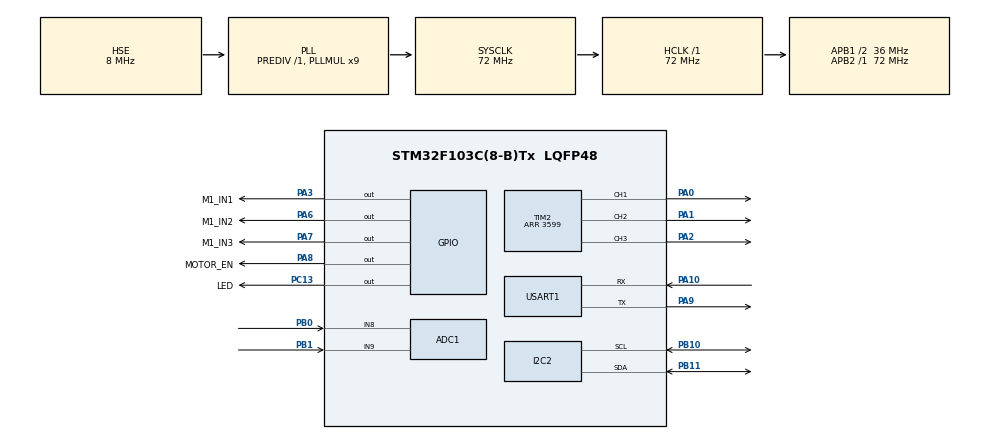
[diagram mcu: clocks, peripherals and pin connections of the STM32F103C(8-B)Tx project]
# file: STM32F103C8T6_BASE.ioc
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ADC1.Channel-0\#ChannelRegularConversion=ADC_CHANNEL_8
ADC1.Channel-1\#ChannelRegularConversion=ADC_CHANNEL_9
ADC1.ExternalTrigConv=ADC_EXTERNALTRIGCONV_T3_TRGO
ADC1.NbrOfConversion=2
ADC1.NbrOfConversionFlag=1
ADC1.Rank-0\#ChannelRegularConversion=1
ADC1.Rank-1\#ChannelRegularConversion=2
ADC1.SamplingTime-0\#ChannelRegularConversion=ADC_SAMPLETIME_55CYCLES_5
ADC1.SamplingTime-1\#ChannelRegularConversion=ADC_SAMPLETIME_55CYCLES_5
ADC1.master=1
Dma.ADC1.0.Direction=DMA_PERIPH_TO_MEMORY
Dma.ADC1.0.Instance=DMA1_Channel1
Dma.ADC1.0.MemDataAlignment=DMA_MDATAALIGN_HALFWORD
Dma.ADC1.0.MemInc=DMA_MINC_ENABLE
Dma.ADC1.0.Mode=DMA_CIRCULAR
Dma.ADC1.0.PeriphDataAlignment=DMA_PDATAALIGN_HALFWORD
Dma.ADC1.0.PeriphInc=DMA_PINC_DISABLE
Dma.ADC1.0.Priority=DMA_PRIORITY_HIGH
Dma.Request0=ADC1
Mcu.Family=STM32F1
Mcu.Name=STM32F103C(8-B)Tx
Mcu.Package=LQFP48
NVIC.DMA1_Channel1_IRQn=true\:0\:0\:false\:false\:true\:false\:true\:true
NVIC.PriorityGroup=NVIC_PRIORITYGROUP_4
PA0-WKUP.Signal=S_TIM2_CH1_ETR
PA1.Signal=S_TIM2_CH2
PA10.Mode=Asynchronous
PA10.Signal=USART1_RX
PA13.Mode=Serial_Wire
PA13.Signal=SYS_JTMS-SWDIO
PA14.Mode=Serial_Wire
PA14.Signal=SYS_JTCK-SWCLK
PA2.Signal=S_TIM2_CH3
PA3.GPIO_Label=M1_IN1
PA3.Signal=GPIO_Output
PA6.GPIO_Label=M1_IN2
PA6.Signal=GPIO_Output
PA7.GPIO_Label=M1_IN3
PA7.Signal=GPIO_Output
PA8.GPIO_Label=MOTOR_EN
PA8.GPIO_PuPd=GPIO_NOPULL
PA8.Signal=GPIO_Output
PA9.Mode=Asynchronous
PA9.Signal=USART1_TX
PB0.Signal=ADCx_IN8
PB1.Signal=ADCx_IN9
PB10.Mode=I2C
PB10.Signal=I2C2_SCL
PB11.Mode=I2C
PB11.Signal=I2C2_SDA
PC13-TAMPER-RTC.GPIO_Label=LED
PC13-TAMPER-RTC.Signal=GPIO_Output
PC14-OSC32_IN.Mode=LSE-External-Oscillator
PC14-OSC32_IN.Signal=RCC_OSC32_IN
PC15-OSC32_OUT.Mode=LSE-External-Oscillator
PC15-OSC32_OUT.Signal=RCC_OSC32_OUT
PD0-OSC_IN.Mode=HSE-External-Oscillator
PD0-OSC_IN.Signal=RCC_OSC_IN
PD1-OSC_OUT.Mode=HSE-External-Oscillator
PD1-OSC_OUT.Signal=RCC_OSC_OUT
ProjectManager.HeapSize=0x200
ProjectManager.StackSize=0x800
ProjectManager.TargetToolchain=MDK-ARM V5.32
RCC.ADCPresc=RCC_ADCPCLK2_DIV6
RCC.AHBFreq_Value=72000000
RCC.APB1CLKDivider=RCC_HCLK_DIV2
RCC.APB1Freq_Value=36000000
RCC.APB1TimFreq_Value=72000000
RCC.APB2Freq_Value=72000000
RCC.APB2TimFreq_Value=72000000
RCC.HCLKFreq_Value=72000000
RCC.PLLMUL=RCC_PLL_MUL9
RCC.PLLSourceVirtual=RCC_PLLSOURCE_HSE
RCC.SYSCLKFreq_VALUE=72000000
RCC.SYSCLKSource=RCC_SYSCLKSOURCE_PLLCLK
RCC.USBFreq_Value=72000000
SH.ADCx_IN8.0=ADC1_IN8,IN8
SH.ADCx_IN9.0=ADC1_IN9,IN9
SH.S_TIM2_CH1_ETR.0=TIM2_CH1,PWM Generation1 CH1
SH.S_TIM2_CH2.0=TIM2_CH2,PWM Generation2 CH2
SH.S_TIM2_CH3.0=TIM2_CH3,PWM Generation3 CH3
TIM2.Channel-PWM\ Generation1\ CH1=TIM_CHANNEL_1
TIM2.Channel-PWM\ Generation2\ CH2=TIM_CHANNEL_2
TIM2.Channel-PWM\ Generation3\ CH3=TIM_CHANNEL_3
TIM2.Period=3599
TIM3.Period=3599
TIM3.TIM_MasterOutputTrigger=TIM_TRGO_UPDATE
TIM3.TIM_MasterSlaveMode=TIM_MASTERSLAVEMODE_DISABLE
USART1.VirtualMode=VM_ASYNC
VP_TIM2_VS_ClockSourceINT.Mode=Internal
VP_TIM3_VS_ClockSourceINT.Mode=Internal
board=custom

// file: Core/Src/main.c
/* USER CODE BEGIN Header */
/**
  ******************************************************************************
  * @file           : main.c
  * @brief          : Main program body
  ******************************************************************************
  * @attention
  *
  * Copyright (c) 2026 STMicroelectronics.
  * All rights reserved.
  *
  * This software is licensed under terms that can be found in the LICENSE file
  * in the root directory of this software component.
  * If no LICENSE file comes with this software, it is provided AS-IS.
  *
  ******************************************************************************
  */
/* USER CODE END Header */
#include "main.h"

/* USER CODE BEGIN Includes */
/* 双 Target 分流：F103-run 固件走 app_run（读固化包直入运行态），
 * 测试 target（默认，不定义 APP_MODE_RUN）走 app_baseline 标定流，行为不变。 */
#if APP_MODE_RUN
#include "app_run.h"
#else
#include "app_baseline.h"
#endif

/* USER CODE END Includes */

ADC_HandleTypeDef hadc1;
DMA_HandleTypeDef hdma_adc1;

I2C_HandleTypeDef hi2c2;

TIM_HandleTypeDef htim2;
TIM_HandleTypeDef htim3;

UART_HandleTypeDef huart1;

void SystemClock_Config(void);
static void MX_GPIO_Init(void);
static void MX_DMA_Init(void);
static void MX_ADC1_Init(void);
static void MX_I2C2_Init(void);
static void MX_TIM2_Init(void);
static void MX_USART1_UART_Init(void);
static void MX_TIM3_Init(void);

int main(void)
{

  /* MCU Configuration--------------------------------------------------------*/

  /* Reset of all peripherals, Initializes the Flash interface and the Systick. */
  HAL_Init();

  /* Configure the system clock */
  SystemClock_Config();

  /* Initialize all configured peripherals */
  MX_GPIO_Init();
  MX_DMA_Init();
  MX_ADC1_Init();
  MX_I2C2_Init();
  MX_TIM2_Init();
  MX_USART1_UART_Init();
  MX_TIM3_Init();
  /* USER CODE BEGIN 2 */
#if APP_MODE_RUN
  app_run_init();
#else
  app_baseline_init();
#endif

  /* USER CODE END 2 */

  /* Infinite loop */
  while (1)
  {

    /* USER CODE BEGIN 3 */
#if APP_MODE_RUN
    app_run_poll();
#else
    app_baseline_poll();
#endif
  }
  /* USER CODE END 3 */
}

void SystemClock_Config(void)
{
  RCC_OscInitTypeDef RCC_OscInitStruct = {0};
  RCC_ClkInitTypeDef RCC_ClkInitStruct = {0};
  RCC_PeriphCLKInitTypeDef PeriphClkInit = {0};

  /** Initializes the RCC Oscillators according to the specified parameters
  * in the RCC_OscInitTypeDef structure.
  */
  RCC_OscInitStruct.OscillatorType = RCC_OSCILLATORTYPE_HSE;
  RCC_OscInitStruct.HSEState = RCC_HSE_ON;
  RCC_OscInitStruct.HSEPredivValue = RCC_HSE_PREDIV_DIV1;
  RCC_OscInitStruct.HSIState = RCC_HSI_ON;
  RCC_OscInitStruct.PLL.PLLState = RCC_PLL_ON;
  RCC_OscInitStruct.PLL.PLLSource = RCC_PLLSOURCE_HSE;
  RCC_OscInitStruct.PLL.PLLMUL = RCC_PLL_MUL9;
  if (HAL_RCC_OscConfig(&RCC_OscInitStruct) != HAL_OK)
  {
    Error_Handler();
  }

  /** Initializes the CPU, AHB and APB buses clocks
  */
  RCC_ClkInitStruct.ClockType = RCC_CLOCKTYPE_HCLK|RCC_CLOCKTYPE_SYSCLK
                              |RCC_CLOCKTYPE_PCLK1|RCC_CLOCKTYPE_PCLK2;
  RCC_ClkInitStruct.SYSCLKSource = RCC_SYSCLKSOURCE_PLLCLK;
  RCC_ClkInitStruct.AHBCLKDivider = RCC_SYSCLK_DIV1;
  RCC_ClkInitStruct.APB1CLKDivider = RCC_HCLK_DIV2;
  RCC_ClkInitStruct.APB2CLKDivider = RCC_HCLK_DIV1;

  if (HAL_RCC_ClockConfig(&RCC_ClkInitStruct, FLASH_LATENCY_2) != HAL_OK)
  {
    Error_Handler();
  }
  PeriphClkInit.PeriphClockSelection = RCC_PERIPHCLK_ADC;
  PeriphClkInit.AdcClockSelection = RCC_ADCPCLK2_DIV6;
  if (HAL_RCCEx_PeriphCLKConfig(&PeriphClkInit) != HAL_OK)
  {
    Error_Handler();
  }
}

static void MX_ADC1_Init(void)
{

  ADC_ChannelConfTypeDef sConfig = {0};

  /** Common config
  */
  hadc1.Instance = ADC1;
  hadc1.Init.ScanConvMode = ADC_SCAN_ENABLE;
  hadc1.Init.ContinuousConvMode = DISABLE;
  hadc1.Init.DiscontinuousConvMode = DISABLE;
  hadc1.Init.ExternalTrigConv = ADC_EXTERNALTRIGCONV_T3_TRGO;
  hadc1.Init.DataAlign = ADC_DATAALIGN_RIGHT;
  hadc1.Init.NbrOfConversion = 2;
  if (HAL_ADC_Init(&hadc1) != HAL_OK)
  {
    Error_Handler();
  }

  /** Configure Regular Channel
  */
  sConfig.Channel = ADC_CHANNEL_8;
  sConfig.Rank = ADC_REGULAR_RANK_1;
  sConfig.SamplingTime = ADC_SAMPLETIME_55CYCLES_5;
  if (HAL_ADC_ConfigChannel(&hadc1, &sConfig) != HAL_OK)
  {
    Error_Handler();
  }

  /** Configure Regular Channel
  */
  sConfig.Channel = ADC_CHANNEL_9;
  sConfig.Rank = ADC_REGULAR_RANK_2;
  if (HAL_ADC_ConfigChannel(&hadc1, &sConfig) != HAL_OK)
  {
    Error_Handler();
  }

}

static void MX_I2C2_Init(void)
{

  hi2c2.Instance = I2C2;
  hi2c2.Init.ClockSpeed = 100000;
  hi2c2.Init.DutyCycle = I2C_DUTYCYCLE_2;
  hi2c2.Init.OwnAddress1 = 0;
  hi2c2.Init.AddressingMode = I2C_ADDRESSINGMODE_7BIT;
  hi2c2.Init.DualAddressMode = I2C_DUALADDRESS_DISABLE;
  hi2c2.Init.OwnAddress2 = 0;
  hi2c2.Init.GeneralCallMode = I2C_GENERALCALL_DISABLE;
  hi2c2.Init.NoStretchMode = I2C_NOSTRETCH_DISABLE;
  if (HAL_I2C_Init(&hi2c2) != HAL_OK)
  {
    Error_Handler();
  }

}

static void MX_TIM2_Init(void)
{

  TIM_ClockConfigTypeDef sClockSourceConfig = {0};
  TIM_MasterConfigTypeDef sMasterConfig = {0};
  TIM_OC_InitTypeDef sConfigOC = {0};

  htim2.Instance = TIM2;
  htim2.Init.Prescaler = 0;
  htim2.Init.CounterMode = TIM_COUNTERMODE_UP;
  htim2.Init.Period = 3599;
  htim2.Init.ClockDivision = TIM_CLOCKDIVISION_DIV1;
  htim2.Init.AutoReloadPreload = TIM_AUTORELOAD_PRELOAD_DISABLE;
  if (HAL_TIM_Base_Init(&htim2) != HAL_OK)
  {
    Error_Handler();
  }
  sClockSourceConfig.ClockSource = TIM_CLOCKSOURCE_INTERNAL;
  if (HAL_TIM_ConfigClockSource(&htim2, &sClockSourceConfig) != HAL_OK)
  {
    Error_Handler();
  }
  if (HAL_TIM_PWM_Init(&htim2) != HAL_OK)
  {
    Error_Handler();
  }
  sMasterConfig.MasterOutputTrigger = TIM_TRGO_RESET;
  sMasterConfig.MasterSlaveMode = TIM_MASTERSLAVEMODE_DISABLE;
  if (HAL_TIMEx_MasterConfigSynchronization(&htim2, &sMasterConfig) != HAL_OK)
  {
    Error_Handler();
  }
  sConfigOC.OCMode = TIM_OCMODE_PWM1;
  sConfigOC.Pulse = 0;
  sConfigOC.OCPolarity = TIM_OCPOLARITY_HIGH;
  sConfigOC.OCFastMode = TIM_OCFAST_DISABLE;
  if (HAL_TIM_PWM_ConfigChannel(&htim2, &sConfigOC, TIM_CHANNEL_1) != HAL_OK)
  {
    Error_Handler();
  }
  if (HAL_TIM_PWM_ConfigChannel(&htim2, &sConfigOC, TIM_CHANNEL_2) != HAL_OK)
  {
    Error_Handler();
  }
  if (HAL_TIM_PWM_ConfigChannel(&htim2, &sConfigOC, TIM_CHANNEL_3) != HAL_OK)
  {
    Error_Handler();
  }
  HAL_TIM_MspPostInit(&htim2);

}

static void MX_TIM3_Init(void)
{

  TIM_ClockConfigTypeDef sClockSourceConfig = {0};
  TIM_MasterConfigTypeDef sMasterConfig = {0};

  htim3.Instance = TIM3;
  htim3.Init.Prescaler = 0;
  htim3.Init.CounterMode = TIM_COUNTERMODE_UP;
  htim3.Init.Period = 3599;
  htim3.Init.ClockDivision = TIM_CLOCKDIVISION_DIV1;
  htim3.Init.AutoReloadPreload = TIM_AUTORELOAD_PRELOAD_DISABLE;
  if (HAL_TIM_Base_Init(&htim3) != HAL_OK)
  {
    Error_Handler();
  }
  sClockSourceConfig.ClockSource = TIM_CLOCKSOURCE_INTERNAL;
  if (HAL_TIM_ConfigClockSource(&htim3, &sClockSourceConfig) != HAL_OK)
  {
    Error_Handler();
  }
  sMasterConfig.MasterOutputTrigger = TIM_TRGO_UPDATE;
  sMasterConfig.MasterSlaveMode = TIM_MASTERSLAVEMODE_DISABLE;
  if (HAL_TIMEx_MasterConfigSynchronization(&htim3, &sMasterConfig) != HAL_OK)
  {
    Error_Handler();
  }

}

static void MX_USART1_UART_Init(void)
{

  huart1.Instance = USART1;
  huart1.Init.BaudRate = 115200;
  huart1.Init.WordLength = UART_WORDLENGTH_8B;
  huart1.Init.StopBits = UART_STOPBITS_1;
  huart1.Init.Parity = UART_PARITY_NONE;
  huart1.Init.Mode = UART_MODE_TX_RX;
  huart1.Init.HwFlowCtl = UART_HWCONTROL_NONE;
  huart1.Init.OverSampling = UART_OVERSAMPLING_16;
  if (HAL_UART_Init(&huart1) != HAL_OK)
  {
    Error_Handler();
  }

}

static void MX_DMA_Init(void)
{

  /* DMA controller clock enable */
  __HAL_RCC_DMA1_CLK_ENABLE();

  /* DMA interrupt init */
  /* DMA1_Channel1_IRQn interrupt configuration */
  HAL_NVIC_SetPriority(DMA1_Channel1_IRQn, 0, 0);
  HAL_NVIC_EnableIRQ(DMA1_Channel1_IRQn);

}

static void MX_GPIO_Init(void)
{
  GPIO_InitTypeDef GPIO_InitStruct = {0};

  /* GPIO Ports Clock Enable */
  __HAL_RCC_GPIOC_CLK_ENABLE();
  __HAL_RCC_GPIOD_CLK_ENABLE();
  __HAL_RCC_GPIOA_CLK_ENABLE();
  __HAL_RCC_GPIOB_CLK_ENABLE();

  /*Configure GPIO pin Output Level */
  HAL_GPIO_WritePin(LED_GPIO_Port, LED_Pin, GPIO_PIN_RESET);

  /*Configure GPIO pin Output Level */
  HAL_GPIO_WritePin(GPIOA, M1_IN1_Pin|M1_IN2_Pin|M1_IN3_Pin|MOTOR_EN_Pin, GPIO_PIN_RESET);

  /*Configure GPIO pin : LED_Pin */
  GPIO_InitStruct.Pin = LED_Pin;
  GPIO_InitStruct.Mode = GPIO_MODE_OUTPUT_PP;
  GPIO_InitStruct.Pull = GPIO_NOPULL;
  GPIO_InitStruct.Speed = GPIO_SPEED_FREQ_LOW;
  HAL_GPIO_Init(LED_GPIO_Port, &GPIO_InitStruct);

  /*Configure GPIO pins : M1_IN1_Pin M1_IN2_Pin M1_IN3_Pin MOTOR_EN_Pin */
  GPIO_InitStruct.Pin = M1_IN1_Pin|M1_IN2_Pin|M1_IN3_Pin|MOTOR_EN_Pin;
  GPIO_InitStruct.Mode = GPIO_MODE_OUTPUT_PP;
  GPIO_InitStruct.Pull = GPIO_NOPULL;
  GPIO_InitStruct.Speed = GPIO_SPEED_FREQ_LOW;
  HAL_GPIO_Init(GPIOA, &GPIO_InitStruct);

}

void Error_Handler(void)
{
  __disable_irq();
  while (1)
  {
  }
}
